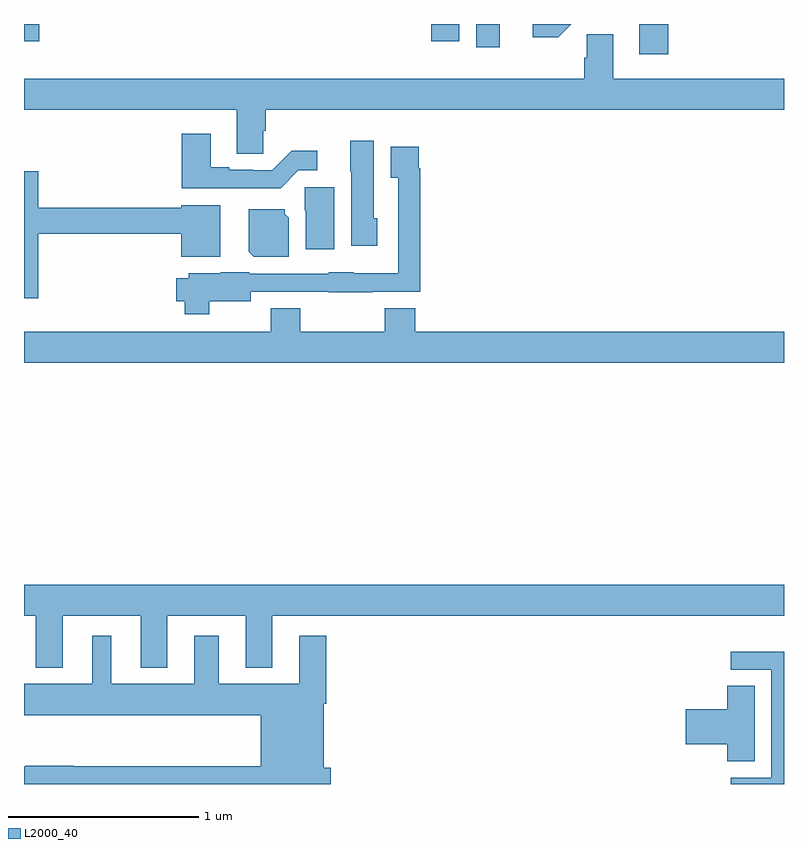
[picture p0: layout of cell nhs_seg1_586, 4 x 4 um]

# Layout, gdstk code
import gdstk
lib = gdstk.Library(unit=1e-6, precision=1e-09)
def R(c, l, rs):  # rectangles x0, y0, x1, y1
    for r in rs: c.add(gdstk.rectangle(r[:2], r[2:], *l))
def P(c, l, *ps):  # polygons
    for p in ps: c.add(gdstk.Polygon(p, *l))
L2000_40 = (2000, 40)

nhs_seg1_586 = lib.new_cell('nhs_seg1_586')
R(nhs_seg1_586, L2000_40, [(146.237,536.04,146.39,536.199), (145.379,536.076,145.504,536.199), (143,536.109,143.08,536.199), (145.143,536.109,145.291,536.199)])
P(nhs_seg1_586, L2000_40, [(145.881,536.199),(145.677,536.199),(145.677,536.13),(145.812,536.13)],
  [(144.258,535.638),(144.272,535.638),(144.272,535.748),(147,535.748),(147,535.912),(146.101,535.912),(146.101,536.144),(145.962,536.144),(145.962,536.022),(145.949,536.022),(145.949,535.912),(143,535.912),(143,535.748),(144.119,535.748),(144.119,535.516),(144.258,535.516)],
  [(144.444,535.428),(144.544,535.428),(144.544,535.531),(144.409,535.531),(144.306,535.428),(144.206,535.428),(144.206,535.431),(144.079,535.431),(144.079,535.444),(143.983,535.444),(143.983,535.621),(143.831,535.621),(143.831,535.334),(144.35,535.334)],
  [(144.859,535.176),(144.841,535.176),(144.841,535.585),(144.716,535.585),(144.716,535.422),(144.722,535.422),(144.722,535.032),(144.859,535.032)],
  [(143.974,534.74),(144.193,534.74),(144.193,534.789),(144.603,534.789),(144.603,534.788),(144.835,534.788),(144.835,534.789),(145.085,534.789),(145.085,535.439),(145.078,535.439),(145.078,535.552),(144.929,535.552),(144.929,535.391),(144.969,535.391),(144.969,534.886),(144.735,534.886),(144.735,534.892),(144.603,534.892),(144.603,534.885),(144.186,534.885),(144.186,534.892),(144.036,534.892),(144.036,534.886),(143.868,534.886),(143.868,534.862),(143.801,534.862),(143.801,534.74),(143.845,534.74),(143.845,534.671),(143.974,534.671)],
  [(143.075,535.096),(143.828,535.096),(143.828,534.974),(144.034,534.974),(144.034,535.246),(143.828,535.246),(143.828,535.232),(143.075,535.232),(143.075,535.423),(143,535.423),(143,534.756),(143.075,534.756)],
  [(144.634,535.341),(144.478,535.341),(144.478,535.218),(144.482,535.218),(144.482,535.014),(144.634,535.014)],
  [(144.394,535.178),(144.372,535.2),(144.372,535.225),(144.182,535.225),(144.182,535),(144.208,534.974),(144.394,534.974)],
  [(147,534.58),(145.058,534.58),(145.058,534.704),(144.898,534.704),(144.898,534.58),(144.453,534.58),(144.453,534.704),(144.298,534.704),(144.298,534.58),(143,534.58),(143,534.416),(147,534.416)],
  [(143.203,533.084),(143.615,533.084),(143.615,532.811),(143.755,532.811),(143.755,533.084),(144.167,533.084),(144.167,532.811),(144.307,532.811),(144.307,533.084),(147,533.084),(147,533.248),(143,533.248),(143,533.084),(143.063,533.084),(143.063,532.811),(143.203,532.811)],
  [(144.614,532.284),(144.577,532.284),(144.577,532.622),(144.59,532.622),(144.59,532.978),(144.449,532.978),(144.449,532.726),(144.025,532.726),(144.025,532.978),(143.897,532.978),(143.897,532.726),(143.458,532.726),(143.458,532.978),(143.36,532.978),(143.36,532.726),(143,532.726),(143,532.562),(144.245,532.562),(144.245,532.292),(143.261,532.292),(143.261,532.295),(143.006,532.295),(143,532.289),(143,532.199),(144.614,532.199)],
  [(147,532.896),(146.721,532.896),(146.721,532.8),(146.934,532.8),(146.934,532.233),(146.721,532.233),(146.721,532.199),(147,532.199)],
  [(146.845,532.715),(146.702,532.715),(146.702,532.592),(146.484,532.592),(146.484,532.409),(146.702,532.409),(146.702,532.318),(146.845,532.318)])

lib.write_gds('nhs_seg1_586.gds')
